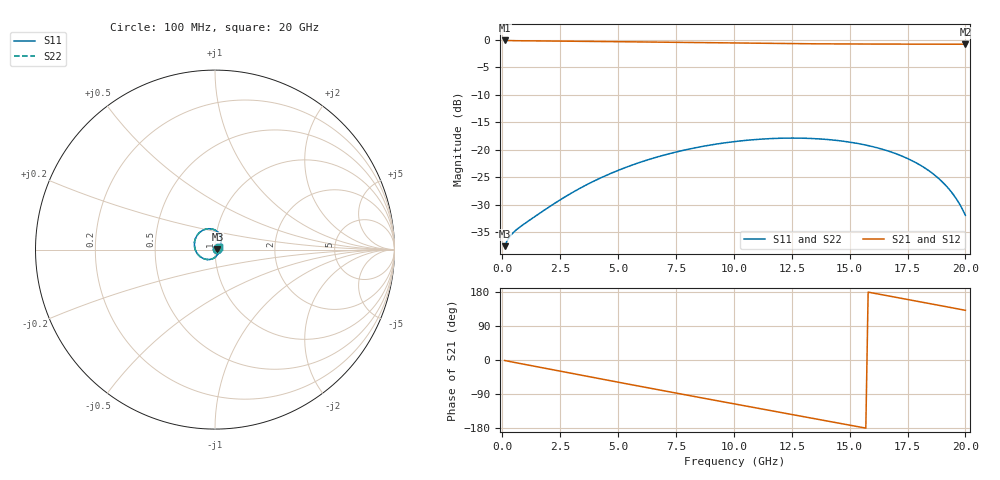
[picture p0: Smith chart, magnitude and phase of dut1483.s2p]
! Touchstone file exported from HFSS 2026.1.0
!  File:  C:/ffzhzh/LocalFiles/Ansys_Project_Files/temp_train_TSV_RDL_1483_1783363409_48288.aedt
!  Generated:  02:50:57 AM Jul  7, 2026
!  Design:  TSV_RDL
!  Project:  temp_train_TSV_RDL_1483_1783363409_48288
! Variables:
!  h_bsmrdl = 2.2um
!  h_ox = 20um
!  h_rdl = 5um
!  h_sub = 78.03um
!  h_tmrdl = 4.11um
!  h_tsv = 78.03um
!  h_via = 3um
!  l_bsmrdl = 152.9um
!  l_sub = 3503.17um
!  l_tmrdl = 625.17um
!  m_sub = 200um
!  pitch = 32.18um
!  r_tsv = 14.31um
!  s_tmrdl = 10um
!  w_bsmrdl = 22.12um
!  w_sub = 500um
!  w_tmrdl = 25.81um
!  x_tsv_center1 = 638.075um
!  x_tsv_center2 = 813.095um
!  x_tsv_center3 = 1464.075um
!  x_tsv_center4 = 1639.095um
!  x_tsv_center5 = 2290.075um
!  x_tsv_center6 = 2465.095um
# GHz S MA R 50.000000
! Terminal data exported
! Port[1] = TM_RDL1_1_T1
! Port[2] = TM_RDL5_1_T1
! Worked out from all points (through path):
!   200 points, 100 MHz to 20 GHz, reference 50 ohm
!   highest |S21| = -0.12 dB at 100 MHz (marker M1); lowest = -0.8 dB at 20 GHz (marker M2)
!   group delay of S21, straight-line fit = 31.6 ps
!   lowest |S11| = -37.5 dB at 100 MHz (marker M3), VSWR 1.03, Z = 51.3 + j0.101 ohm
!   |S11| at or under -10 dB: start of sweep to end of sweep
!   |S22| runs from -37.5 to -17.8 dB; largest |S21 - S12| = 1.4e-13
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0.1  0.01335 4.2  0.9867 -1.3  0.9867 -1.3  0.01335 4.2
! Gamma 0 0 0 0
! Port Impedance 50 0 50 0
0.3  0.01606 -0.4  0.984 -3.8  0.984 -3.8  0.01606 -0.4
0.7  0.0195 -18.1  0.9807 -8.5  0.9807 -8.5  0.0195 -18.1
2.1  0.03109 -65.1  0.9751 -24.8  0.9751 -24.8  0.0311 -65.1
3.5  0.04654 -95.7  0.9691 -41.2  0.9691 -41.2  0.04655 -95.7
5.2  0.06769 -125.1  0.9603 -60.8  0.9603 -60.8  0.06771 -125.1
6  0.07776 -137.7  0.9558 -70.1  0.9558 -70.1  0.07779 -137.6
6.8  0.08753 -149.7  0.9513 -79.2  0.9513 -79.2  0.08757 -149.7
7.6  0.09675 -161.4  0.9467 -88.4  0.9467 -88.4  0.0968 -161.3
8.4  0.1052 -172.7  0.9422 -97.5  0.9422 -97.5  0.1052 -172.7
9.2  0.1126 176.2  0.9378 -106.6  0.9378 -106.6  0.1127 176.2
10.1  0.1195 164.0  0.9331 -116.8  0.9331 -116.8  0.1196 164.0
11.8  0.1272 141.5  0.9255 -135.9  0.9255 -135.9  0.1273 141.6
13.4  0.1269 121.0  0.92 -153.9  0.92 -153.9  0.1269 121.2
14.3  0.1228 109.6  0.9179 -164.0  0.9179 -164.0  0.1229 109.8
15.1  0.1168 99.6  0.9164 -173.0  0.9164 -173.0  0.1168 99.8
16.7  0.09718 79.4  0.9146 168.9  0.9146 168.9  0.09721 79.8
17.8  0.0778 65.4  0.9138 156.4  0.9138 156.4  0.0778 65.9
18.7  0.05843 53.5  0.9132 146.1  0.9132 146.1  0.0584 54.2
19.4  0.04133 43.3  0.9126 138.1  0.9126 138.1  0.04127 44.4
19.7  0.03351 38.4  0.9122 134.6  0.9122 134.6  0.03342 39.7
20  0.02543 32.6  0.9118 131.1  0.9118 131.1  0.02531 34.3
